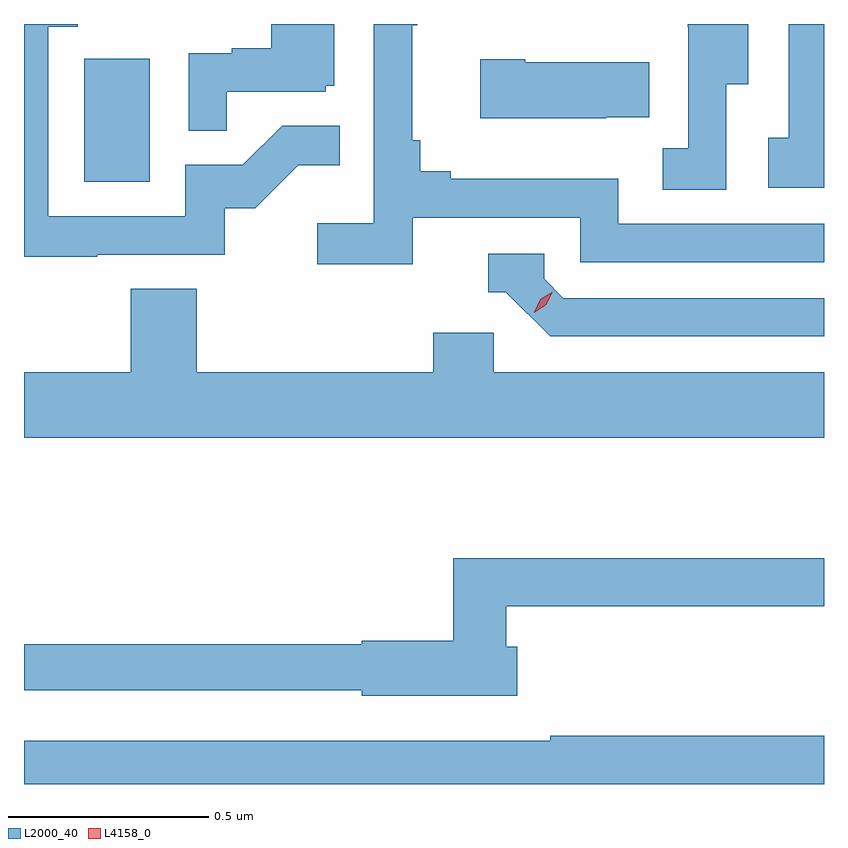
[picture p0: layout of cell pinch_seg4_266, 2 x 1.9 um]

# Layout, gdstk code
import gdstk
lib = gdstk.Library(unit=1e-6, precision=1e-09)
def R(c, l, rs):  # rectangles x0, y0, x1, y1
    for r in rs: c.add(gdstk.rectangle(r[:2], r[2:], *l))
def P(c, l, *ps):  # polygons
    for p in ps: c.add(gdstk.Polygon(p, *l))
L2000_40 = (2000, 40)
L4158_0 = (4158, 0)

pinch_seg4_266 = lib.new_cell('pinch_seg4_266')
R(pinch_seg4_266, L2000_40, [(926.336,824.1,926.5,824.407)])
P(pinch_seg4_266, L2000_40, [(927.158,824.01),(927.576,824.01),(927.576,823.899),(928.186,823.899),(928.186,823.995),(927.672,823.995),(927.672,824.107),(927.253,824.107),(927.253,824.126),(927.176,824.126),(927.176,824.203),(927.157,824.203),(927.157,824.491),(927.169,824.491),(927.169,824.494),(927.06,824.494),(927.06,823.996),(926.919,823.996),(926.919,823.894),(927.158,823.894)],
  [(926.693,824.325),(926.94,824.325),(926.94,824.34),(926.962,824.34),(926.962,824.494),(926.804,824.494),(926.804,824.434),(926.705,824.434),(926.705,824.421),(926.598,824.421),(926.598,824.227),(926.693,824.227)],
  [(926.369,823.917),(926.688,823.917),(926.688,824.034),(926.764,824.034),(926.871,824.141),(926.975,824.141),(926.975,824.24),(926.831,824.24),(926.733,824.142),(926.589,824.142),(926.589,824.013),(926.247,824.013),(926.247,824.487),(926.32,824.487),(926.32,824.494),(926.186,824.494),(926.186,823.912),(926.369,823.912)],
  [(928.186,824.494),(928.098,824.494),(928.098,824.21),(928.047,824.21),(928.047,824.085),(928.186,824.085)],
  [(927.942,824.344),(927.997,824.344),(927.997,824.494),(927.845,824.494),(927.845,824.487),(927.846,824.487),(927.846,824.183),(927.783,824.183),(927.783,824.08),(927.942,824.08)],
  [(927.641,824.261),(927.749,824.261),(927.749,824.398),(927.439,824.398),(927.439,824.406),(927.327,824.406),(927.327,824.258),(927.641,824.258)],
  [(928.186,823.809),(927.534,823.809),(927.486,823.857),(927.486,823.92),(927.347,823.92),(927.347,823.824),(927.39,823.824),(927.501,823.713),(928.186,823.713)],
  [(928.186,823.624),(927.36,823.624),(927.36,823.722),(927.209,823.722),(927.209,823.624),(926.618,823.624),(926.618,823.832),(926.453,823.832),(926.453,823.624),(926.186,823.624),(926.186,823.46),(928.186,823.46)],
  [(927.419,822.937),(927.391,822.937),(927.391,823.038),(928.186,823.038),(928.186,823.159),(927.259,823.159),(927.259,822.952),(927.03,822.952),(927.03,822.944),(926.186,822.944),(926.186,822.828),(927.03,822.828),(927.03,822.815),(927.419,822.815)],
  [(928.186,822.715),(927.502,822.715),(927.502,822.702),(926.186,822.702),(926.186,822.594),(928.186,822.594)])
P(pinch_seg4_266, L4158_0, [(927.461,823.772),(927.461,823.773),(927.477,823.806),(927.508,823.825),(927.508,823.825),(927.508,823.825),(927.492,823.792),(927.461,823.772)])

lib.write_gds('pinch_seg4_266.gds')
